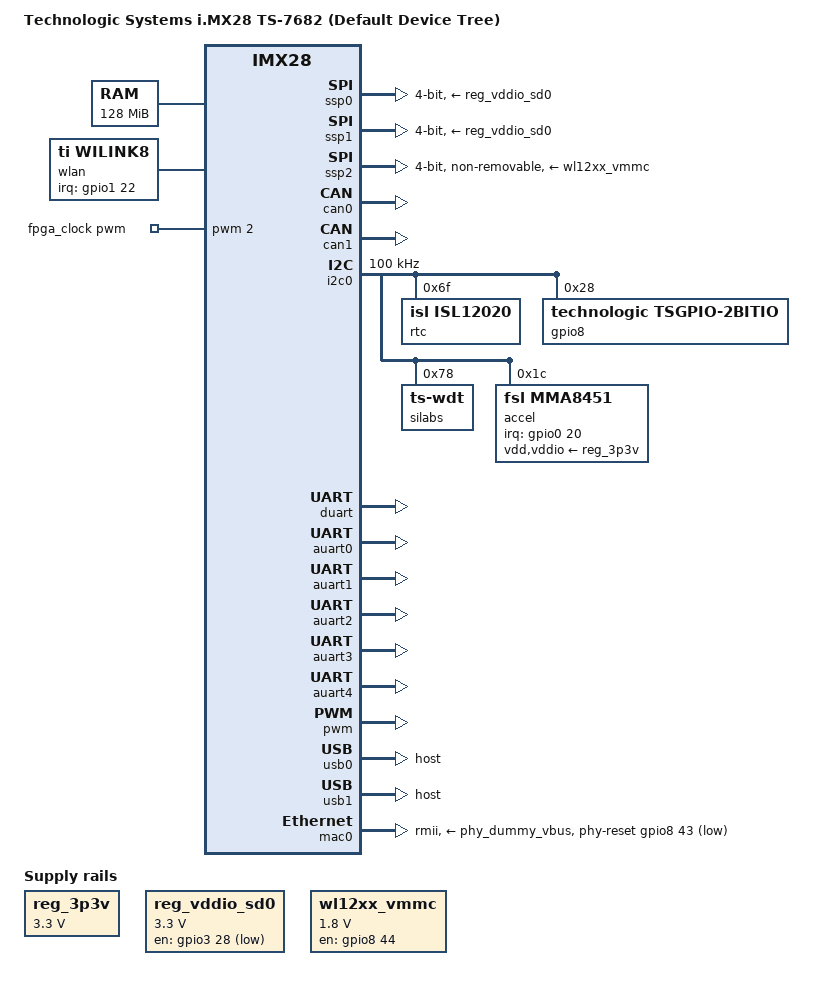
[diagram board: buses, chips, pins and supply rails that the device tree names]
/*
 * Copyright (C) 2016 Technologic Systems
 *
 * The code contained herein is licensed under the GNU General Public
 * License. You may obtain a copy of the GNU General Public License
 * Version 2 or later at the following locations:
 *
 * http://www.opensource.org/licenses/gpl-license.html
 * http://www.gnu.org/copyleft/gpl.html
 */

/dts-v1/;
#include "imx28.dtsi"
#include "dt-bindings/gpio/gpio.h"
#include <dt-bindings/interrupt-controller/irq.h>

/ {

	model = "Technologic Systems i.MX28 TS-7682 (Default Device Tree)";
	compatible = "fsl,imx28-ts7682", "fsl,imx28";

	aliases {
		mmc0 = &ssp0;
		mmc2 = &ssp1;
		i2c0 = &i2c0;
	};

	memory {
		reg = <0x40000000 0x08000000>;   /* 128MB */
	};

	apb@80000000 {
		apbh@80000000 {
		
			ssp0: ssp@80010000 {
				compatible = "fsl,imx28-mmc";
				pinctrl-names = "default";
				pinctrl-0 = <&mmc0_4bit_pins_ts7682
					     &mmc0_sck_cfg
					     &en_sd_pwr>;
				broken-cd = <1>;	     
				bus-width = <4>;
				vmmc-supply = <&reg_vddio_sd0>;
				status = "okay";
			};

			ssp1: ssp@80012000 {
				compatible = "fsl,imx28-mmc";
				pinctrl-names = "default";
				pinctrl-0 = <&mmc1_4bit_pins
					     &en_sd_pwr>;
				broken-cd = <1>;	     
				bus-width = <4>;
				vmmc-supply = <&reg_vddio_sd0>;
				status = "okay";
			};
						
			ssp2: ssp@80014000 {
				compatible = "fsl,imx28-mmc";
				max-frequency = <26000000>;
				pinctrl-names = "default";
				pinctrl-0 = <&mmc2_4bit_pins
				            &mmc_sck_cfg>;
				broken-cd = <1>;				
				cap-sdio-irq;
				non-removable;
				bus-width = <4>;
				vmmc-supply = <&wl12xx_vmmc>;
				status = "okay";
			};

			ssp3: ssp@80016000 {
				#address-cells = <1>;
				#size-cells = <0>;
				compatible = "fsl,imx28-spi";
				pinctrl-names = "default";
				pinctrl-0 = <&spi3_pins_a>;
				status = "disabled";
			};
			
			
			pinctrl@80018000 {
				pinctrl-names = "default";
				
				en_sd_pwr: en_sd_pwr {
				   fsl,pinmux-ids = <
				      MX28_PAD_PWM3__GPIO_3_28   // EN_SD_POWER#
				   >;
				   fsl,drive-strength = <MXS_DRIVE_4mA>;
					fsl,voltage = <MXS_VOLTAGE_HIGH>;
					fsl,pull-up = <MXS_PULL_DISABLE>;				   
				};

				mmc0_4bit_pins_ts7682: mmc0-4bit@0 {
					reg = <0>;
					fsl,pinmux-ids = <
					  MX28_PAD_SSP0_DATA0__SSP0_D0
					  MX28_PAD_SSP0_DATA1__SSP0_D1
					  MX28_PAD_SSP0_DATA2__SSP0_D2
					  MX28_PAD_SSP0_DATA3__SSP0_D3
					  MX28_PAD_SSP0_CMD__SSP0_CMD						
					  MX28_PAD_SSP0_SCK__SSP0_SCK
					>;
					fsl,drive-strength = <MXS_DRIVE_8mA>;
					fsl,voltage = <MXS_VOLTAGE_HIGH>;
					fsl,pull-up = <MXS_PULL_ENABLE>;
				};

				mmc1_4bit_pins: mmc1-4bit@0 {
					reg = <0>;
					fsl,pinmux-ids = <
					  MX28_PAD_GPMI_WRN__SSP1_SCK

					  MX28_PAD_GPMI_RDY1__SSP1_CMD
					  MX28_PAD_GPMI_D00__SSP1_D0
					  MX28_PAD_GPMI_D01__SSP1_D1
					  MX28_PAD_GPMI_D02__SSP1_D2
					  MX28_PAD_GPMI_D03__SSP1_D3
					>;
					fsl,drive-strength = <MXS_DRIVE_8mA>;
					fsl,voltage = <MXS_VOLTAGE_HIGH>;
					fsl,pull-up = <MXS_PULL_ENABLE>;
				};
				
				mmc2_4bit_pins: mmc2-4bit@0 {   /* wifi */
					reg = <0>;
					fsl,pinmux-ids = <
					  MX28_PAD_SSP0_DATA4__SSP2_D0
					  MX28_PAD_SSP2_SS1__SSP2_D1
					  MX28_PAD_SSP2_SS2__SSP2_D2
					  MX28_PAD_SSP0_DATA5__SSP2_D3
					  MX28_PAD_SSP0_DATA6__SSP2_CMD
					  MX28_PAD_SSP0_DATA7__SSP2_SCK						
					  MX28_PAD_LCD_D22__GPIO_1_22
					>;
					fsl,drive-strength = <MXS_DRIVE_8mA>;
					fsl,voltage = <MXS_VOLTAGE_LOW>;
					fsl,pull-up = <MXS_PULL_ENABLE>;
				};

				mmc_sck_cfg: mmc-sck-cfg {
					fsl,pinmux-ids = <
					  MX28_PAD_SSP0_DATA7__SSP2_SCK
					>;
					fsl,drive-strength = <MXS_DRIVE_12mA>;
					fsl,pull-up = <MXS_PULL_DISABLE>;
				};

				mac0_pins_ts7682: mac0@0 {
					reg = <0>;
					fsl,pinmux-ids = <
					   MX28_PAD_ENET0_MDC__GPIO_4_0
					   MX28_PAD_ENET0_MDIO__GPIO_4_1
					   MX28_PAD_ENET0_RX_EN__ENET0_RX_EN
					   MX28_PAD_ENET0_RXD0__ENET0_RXD0
					   MX28_PAD_ENET0_RXD1__ENET0_RXD1
					   MX28_PAD_ENET0_TX_EN__ENET0_TX_EN
					   MX28_PAD_ENET0_TXD0__ENET0_TXD0
					   MX28_PAD_ENET0_TXD1__ENET0_TXD1
					   MX28_PAD_ENET_CLK__CLKCTRL_ENET
					>;
					fsl,drive-strength = <MXS_DRIVE_8mA>;
					fsl,voltage = <MXS_VOLTAGE_HIGH>;
					fsl,pull-up = <MXS_PULL_ENABLE>;
				};

				spi_boot_pins_auart2: spi-boot-pins-auart2@0 {
					reg = <0>;
					fsl,pinmux-ids = <
					  MX28_PAD_SSP2_SCK__AUART2_RX
					  MX28_PAD_SSP2_MOSI__AUART2_TX
					>;
					fsl,drive-strength = <MXS_DRIVE_4mA>;
					fsl,voltage = <MXS_VOLTAGE_HIGH>;
					fsl,pull-up = <MXS_PULL_DISABLE>;
				};

				spi_boot_pins_auart3: spi-boot-pins-auart3@0 {
					reg = <0>;
					fsl,pinmux-ids = <
					  MX28_PAD_SSP2_MISO__AUART3_RX
					  MX28_PAD_SSP2_SS0__AUART3_TX
					>;
					fsl,drive-strength = <MXS_DRIVE_4mA>;
					fsl,voltage = <MXS_VOLTAGE_HIGH>;
					fsl,pull-up = <MXS_PULL_DISABLE>;
				};

				auart4_pins: auart4@0 {
					reg = <0>;
					fsl,pinmux-ids = <
					  MX28_PAD_SAIF0_BITCLK__AUART4_RX
					  MX28_PAD_SAIF0_SDATA0__AUART4_TX
					>;
					fsl,drive-strength = <MXS_DRIVE_4mA>;
					fsl,voltage = <MXS_VOLTAGE_HIGH>;
					fsl,pull-up = <MXS_PULL_DISABLE>;
				};

				misc_pins: misc@0 {
					reg = <0>;
					fsl,pinmux-ids = <
					  //USB 5V EN
					  MX28_PAD_LCD_CS__GPIO_1_27
					  //EN_CAN#
					  MX28_PAD_LCD_RESET__GPIO_3_30
			      		>;
					fsl,drive-strength = <MXS_DRIVE_4mA>;
					fsl,voltage = <MXS_VOLTAGE_HIGH>;
					fsl,pull-up = <MXS_PULL_ENABLE>;
				};
			};
			
			can0: can@80032000 {
				pinctrl-names = "default";
				pinctrl-0 = <&can0_pins_a>;
				status = "okay";
			};

			can1: can@80034000 {
				pinctrl-names = "default";
				pinctrl-0 = <&can1_pins_a>;
				status = "okay";
			};

		};

		apbx@80040000 {
			saif0: saif@80042000 {
				pinctrl-names = "default";
				pinctrl-0 = <&saif0_pins_a>;
				status = "disabled";
			};

			saif1: saif@80046000 {
				pinctrl-names = "default";
				pinctrl-0 = <&saif1_pins_a>;
				fsl,saif-master = <&saif0>;
				status = "disabled";
			};


			i2c0: i2c@80058000 {
				pinctrl-names = "default";
				pinctrl-0 = <&i2c0_pins_a>;
				clock-frequency = <100000>;
				status = "okay";

				rtc: isl12020@68 {
					compatible = "isl,isl12020";
					reg = <0x6f>;
				};

				gpio8: ts7682gpio@28 {
					compatible = "technologic,tsgpio-2bitio";
					ngpio = /bits/ 16 <64>;
					base = <192>;
					reg = <0x28>;   
					#gpio-cells = <2>;
					gpio-controller;
				};

				silabs: silabs@78 {
					compatible = "ts-wdt";
					reg = <0x78>;
				};

				accel: mma8451@1c {
					compatible = "fsl,mma8451";
					reg = <0x1c>;
					position = <0>;
					vdd-supply = <&reg_3p3v>;
					vddio-supply = <&reg_3p3v>;
					interrupt-parent = <&gpio0>;
					interrupts = <20 6>;
					interrupt-route = <1>;
				};
		   	};

			duart: serial@80074000 {
				pinctrl-names = "default";
				pinctrl-0 = <&duart_pins_a>;
				status = "okay";
			};

			usbphy0: usbphy@8007c000 {
				status = "okay";
								
			};

			usbphy1: usbphy@8007e000 {			   
				status = "okay";
			};


			auart0: serial@8006a000 {
				pinctrl-names = "default";
				pinctrl-0 = <&auart0_pins_a>;
				status = "okay";
			};

			auart1: serial@8006c000 {
				pinctrl-names = "default";
				pinctrl-0 = <&auart1_2pins_a>;
				status = "okay";
			};

			auart2: serial@8006e000 {
				pinctrl-names = "default";
				pinctrl-0 = <&spi_boot_pins_auart2>;
				status = "okay";
			};

			auart3: serial@80070000 {
				pinctrl-names = "default";
				pinctrl-0 = <&spi_boot_pins_auart3>;
				status = "okay";
			};

			auart4: serial@80072000 {
				pinctrl-names = "default";
				pinctrl-0 = <&auart4_pins>;
				status = "okay";
			};

			pwm: pwm@80064000 {
				pinctrl-names = "default";
				pinctrl-0 = <&pwm2_pins_a>;
				status = "okay";
			};
		};
	};

	ahb@80080000 {	   
		usb0: usb@80080000 {
			disable-over-current;
			dr_mode = "host";
			status = "okay";
		};

		usb1: usb@80090000 {
			disable-over-current;
			dr_mode = "host";
			status = "okay";
		};

		mac0: ethernet@800f0000 {
			phy-mode = "rmii";
			pinctrl-names = "default";
			pinctrl-0 = <&mac0_pins_ts7682>;			      
			clocks = <&clks 57>, <&clks 57>, <&clks 64>;
			clock-names = "ipg", "ahb", "enet_out";
		 	phy-supply = <&phy_dummy_vbus>;		
			phy-reset-gpios = <&gpio8 43 GPIO_ACTIVE_LOW>;
			phy-reset-duration = <1000>;
			status = "okay";

			phy: ethernet@0 {	   
				device_type = "network";
				fixed-link = <0 1 100 0 0>;
			};
		};
	};

	regulators {
		compatible = "simple-bus";

		reg_3p3v: 3p3v {
			compatible = "regulator-fixed";
			regulator-name = "3P3V";
			regulator-min-microvolt = <3300000>;
			regulator-max-microvolt = <3300000>;
			regulator-always-on;
		};
		
		
		reg_vddio_sd0: vddio-sd0 {
			compatible = "regulator-fixed";
			regulator-name = "vddio-sd0";
			regulator-min-microvolt = <3300000>;
			regulator-max-microvolt = <3300000>;
			regulator-boot-on;
			gpio = <&gpio3 28 0>;
			};
	
		
		reg_usb0_vbus: usb0_vbus {
			compatible = "regulator-dummy";
			regulator-name = "usb0_vbus_dummy";
			regulator-always-on;
			
		};

		reg_usb1_vbus: usb1_vbus {
			compatible = "regulator-dummy";
			regulator-name = "usb1_vbus_dummy";
			regulator-always-on;
		};
		
		
		wl12xx_vmmc: wl12xx-vmmc {		
			compatible = "regulator-fixed";
			regulator-name = "vddio-sd1";
			regulator-min-microvolt = <1800000>;
			regulator-max-microvolt = <1800000>;
			gpio = <&gpio8 44 0>;
			startup-delay-us = <70000>;
			enable-active-high;
			regulator-boot-on;
		};

		phy_dummy_vbus: phy_dummy_vbus {		
			compatible = "regulator-dummy";
			regulator-name = "phy-dummy";
			enable-active-high;
			regulator-boot-on;
		};


	};
	
	wlan  {
		compatible = "ti,wilink8";		
		interrupt-parent = <&gpio1>;		
		interrupts = <22 IRQ_TYPE_EDGE_FALLING>;
		interrupt-names = "wlan";
		status = "okay";
	};

	fpga_clock {
		compatible = "pwm-clock";
		#clock-cells = <0>;
		clock-frequency = <12000000>;
		clock-output-names = "fpga_12mhz";
                pwms = <&pwm 2 83>; // 1 / 84 ns = 12ish MHz 
        };
	
	gpio_setup {
		compatible = "fsl,imx28-pinctrl";
		pinctrl-names = "default";
		pinctrl-0 = <
		  &misc_pins
		>;
	};
};


